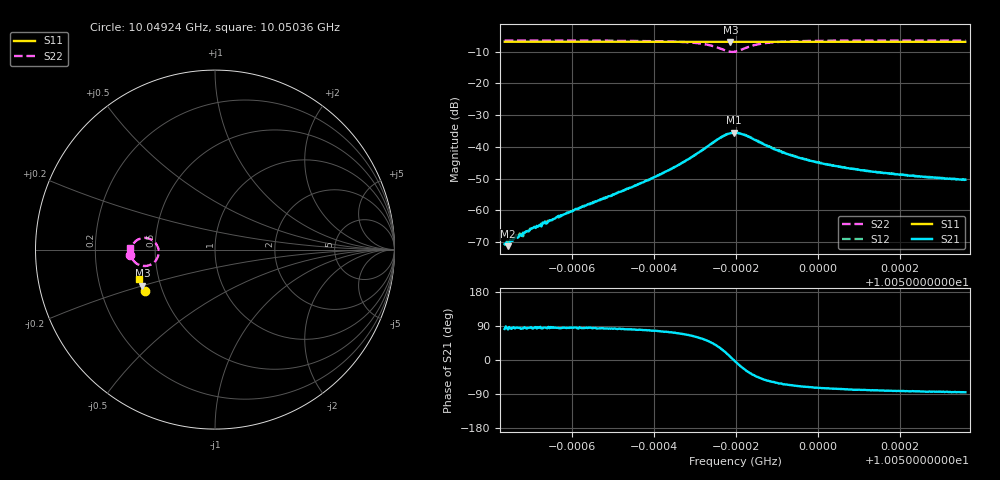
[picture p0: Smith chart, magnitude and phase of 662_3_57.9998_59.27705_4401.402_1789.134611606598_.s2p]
#  HZ  S  RI  R  50.00
! Rohde & Schwarz Vector Network Analyzer
! Rohde-Schwarz,ZNB20-2Port,1311601062101988,3.16
! Created: UTC 3/21/2024, 1:20:00 AM
! freq[Hz]  re:S11  im:S11  re:S21  im:S21  re:S12  im:S12  re:S22  im:S22
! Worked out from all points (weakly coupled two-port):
!   401 points, 10.04924 GHz to 10.05036 GHz, reference 50 ohm
!   highest |S21| = -35.53 dB at 10.04979 GHz (marker M1); lowest = -71.3 dB at 10.04924 GHz (marker M2)
!   lowest |S11| = -6.9 dB at 10.04979 GHz (marker M3), VSWR 2.65, Z = 19.8 - j9.95 ohm
!   |S11| at or under -10 dB: nowhere
!   |S22| runs from -10.1 to -6.5 dB; largest |S21 - S12| = 0.0015
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1.0049235e10  -0.39 -0.2331  4.05e-05 0.00029  2.11e-05 0.000279  -0.4738 -0.0312
1.0049243e10  -0.3903 -0.2327  4.43e-05 0.000269  3.16e-05 0.000325  -0.4738 -0.0306
1.0049269e10  -0.3912 -0.2312  3.4e-05 0.000374  -8.23e-06 0.000376  -0.4739 -0.028
1.0049283e10  -0.3916 -0.2303  3e-05 0.000431  1.95e-05 0.000421  -0.4738 -0.0266
1.0049302e10  -0.3922 -0.2292  6.17e-05 0.000518  1.5e-05 0.000521  -0.4738 -0.0247
1.0049423e10  -0.3961 -0.2221  0.000119 0.00113  4.31e-05 0.00114  -0.4725 -0.011
1.004953e10  -0.3993 -0.2158  0.000328 0.0021  0.000185 0.00211  -0.4693 0.00513
1.0049612e10  -0.4016 -0.2108  0.000851 0.00348  0.000639 0.00356  -0.4617 0.0232
1.0049668e10  -0.4032 -0.2073  0.002 0.00522  0.00167 0.00529  -0.4483 0.0415
1.0049716e10  -0.4042 -0.2042  0.00482 0.00729  0.00438 0.00754  -0.4183 0.0605
1.0049755e10  -0.4046 -0.2017  0.0107 0.00764  0.0102 0.00839  -0.3621 0.0592
1.0049772e10  -0.4048 -0.2008  0.014 0.00576  0.0136 0.0066  -0.3317 0.0367
1.0049786e10  -0.4048 -0.2003  0.0163 0.00223  0.016 0.00367  -0.3154 0.0032
1.0049794e10  -0.405 -0.2001  0.0167 -0.000147  0.0166 0.00116  -0.3142 -0.0205
1.0049797e10  -0.4051 -0.1999  0.0166 -0.00103  0.0165 0.000384  -0.3154 -0.0283
1.0049828e10  -0.4063 -0.1989  0.0127 -0.00743  0.0132 -0.00657  -0.3622 -0.0855
1.0049868e10  -0.4079 -0.1967  0.00679 -0.00866  0.00769 -0.0082  -0.4203 -0.0863
1.0049918e10  -0.4096 -0.1936  0.00348 -0.00722  0.00401 -0.00698  -0.4515 -0.065
1.0049986e10  -0.4115 -0.1895  0.00183 -0.00566  0.00216 -0.00561  -0.4658 -0.0432
1.0050073e10  -0.4139 -0.1841  0.001 -0.00451  0.00129 -0.00448  -0.4717 -0.0248
1.0050174e10  -0.4165 -0.1779  0.000582 -0.00376  0.000812 -0.00372  -0.4743 -0.0103
1.0050359e10  -0.4207 -0.1665  0.00026 -0.00302  0.000439 -0.00301  -0.4754 0.00935
